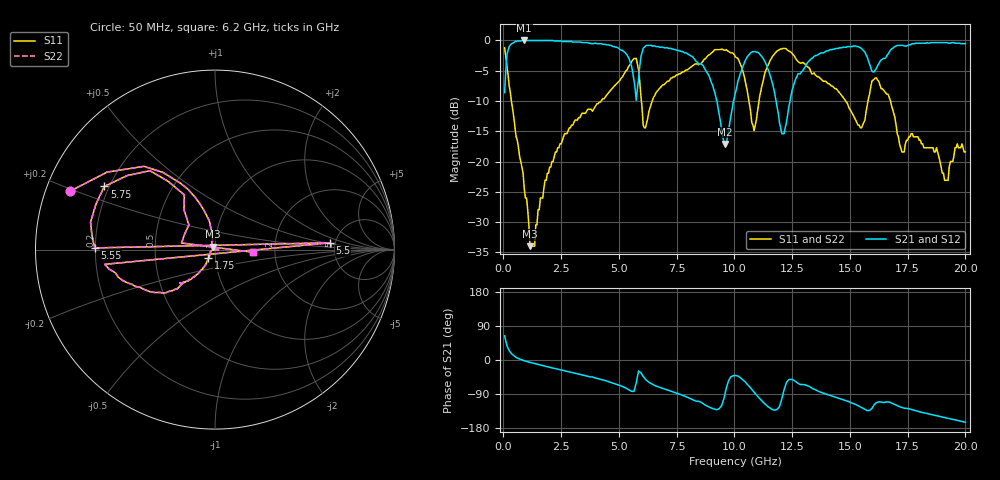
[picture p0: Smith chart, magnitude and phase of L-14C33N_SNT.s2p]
#	mhz	s	ma	r	50
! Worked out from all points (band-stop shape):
!   400 points, 50 MHz to 20 GHz, reference 50 ohm
!   highest |S21| = 0.00 dB at 900 MHz (marker M1); lowest = -17.1 dB at 9.6 GHz (marker M2)
!   |S21| within 3 dB of the highest: 138.4 MHz to 5.437 GHz (5.298 GHz wide, 190 % of centre); 16.44 GHz to end of sweep (the widest 2 of 5)
!   lowest |S11| = -34.0 dB at 1.15 GHz (marker M3), VSWR 1.04, Z = 48.7 + j1.52 ohm
!   |S11| at or under -10 dB: 344.4 MHz to 4.231 GHz (3.887 GHz wide, 170 % of centre); 14.82 GHz to 15.78 GHz (964.8 MHz wide, 6.31 % of centre); 16.76 GHz to end of sweep (the widest 3 of 5)
!   |S22| runs from -34.0 to -1.2 dB; largest |S21 - S12| = 0
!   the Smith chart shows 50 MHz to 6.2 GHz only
!   S11 on the Smith chart (normalised r, x): 50 MHz: 0.07, +0.19; 1.75 GHz: 0.93, -0.09; 5.5 GHz: 4.48, +0.58; 5.55 GHz: 0.20, +0.01; 5.75 GHz: 0.18, +0.26; 6.2 GHz: 1.53, -0.05
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50  0.87 158.0  0.37 64.0  0.37 64.0  0.87 158.0
900  0.06 103.7  1 -1.8  1 -1.8  0.06 103.7
1150  0.02 128.6  1 -6.3  1 -6.3  0.02 128.6
1750  0.06 -127.5  1 -15.7  1 -15.7  0.06 -127.5
3400  0.25 -132.7  0.96 -39.2  0.96 -39.2  0.25 -132.7
5450  0.62 -172.4  0.7 -79.3  0.7 -79.3  0.62 -172.4
5500  0.64 3.4  0.65 -81.0  0.65 -81.0  0.64 3.4
5550  0.67 179.2  0.61 -82.7  0.61 -82.7  0.67 179.2
5750  0.71 150.3  0.32 -60.3  0.32 -60.3  0.71 150.3
6200  0.21 -4.0  0.91 -53.7  0.91 -53.7  0.21 -4.0
6700  0.39 -172.2  0.89 -70.7  0.89 -70.7  0.39 -172.2
7050  0.45 -179.2  0.87 -78.3  0.87 -78.3  0.45 -179.2
7100  0.46 -0.1  0.87 -79.2  0.87 -79.2  0.46 -0.1
7150  0.46 179.0  0.86 -80.0  0.86 -80.0  0.46 179.0
7250  0.49 177.1  0.86 -82.4  0.86 -82.4  0.49 177.1
9600  0.83 104.6  0.14 -87.2  0.14 -87.2  0.83 104.6
10050  0.73 86.7  0.37 -40.7  0.37 -40.7  0.73 86.7
10850  0.18 104.9  0.81 -84.6  0.81 -84.6  0.18 104.9
12050  0.85 91.9  0.17 -103.3  0.17 -103.3  0.85 91.9
13350  0.53 42.8  0.71 -74.1  0.71 -74.1  0.53 42.8
16700  0.34 -6.7  0.8 -111.3  0.8 -111.3  0.34 -6.7
20000  0.12 -80.7  0.94 -164.5  0.94 -164.5  0.12 -80.7
